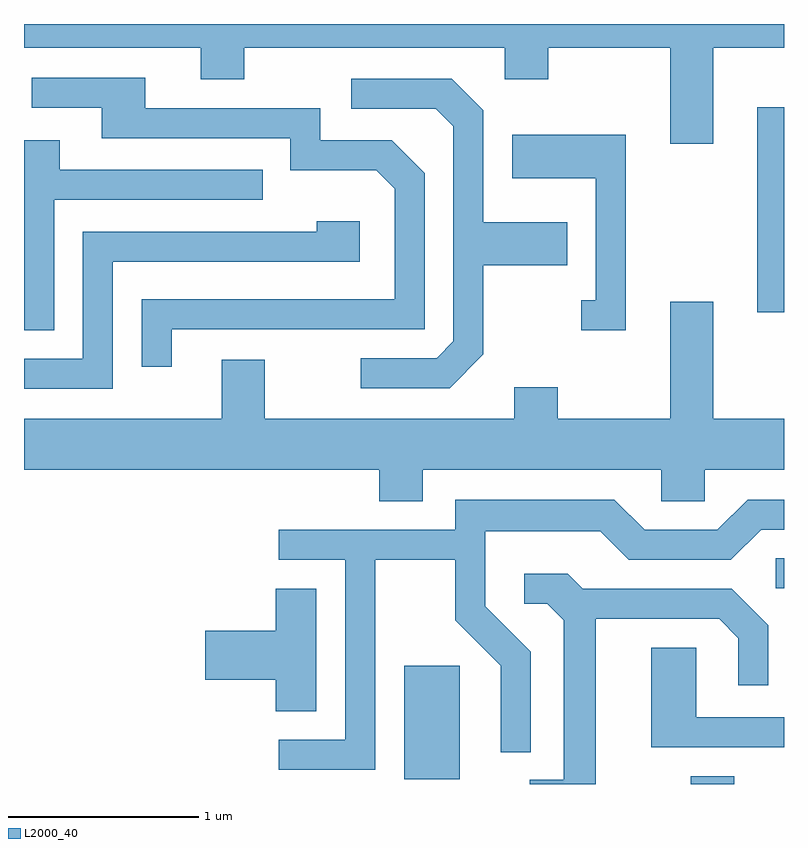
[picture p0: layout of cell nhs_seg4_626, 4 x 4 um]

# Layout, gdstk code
import gdstk
lib = gdstk.Library(unit=1e-6, precision=1e-09)
def R(c, l, rs):  # rectangles x0, y0, x1, y1
    for r in rs: c.add(gdstk.rectangle(r[:2], r[2:], *l))
def P(c, l, *ps):  # polygons
    for p in ps: c.add(gdstk.Polygon(p, *l))
L2000_40 = (2000, 40)

nhs_seg4_626 = lib.new_cell('nhs_seg4_626')
R(nhs_seg4_626, L2000_40, [(207.121,1281.982,207.349,1282.024), (205.611,1282.006,205.904,1282.604), (207.568,1283.011,207.611,1283.169), (207.471,1284.466,207.611,1285.544)])
P(nhs_seg4_626, L2000_40, [(207.239,1285.856),(207.611,1285.856),(207.611,1285.982),(203.611,1285.982),(203.611,1285.856),(204.541,1285.856),(204.541,1285.691),(204.769,1285.691),(204.769,1285.856),(206.141,1285.856),(206.141,1285.691),(206.369,1285.691),(206.369,1285.856),(207.011,1285.856),(207.011,1285.351),(207.239,1285.351)],
  [(204.389,1284.376),(205.719,1284.376),(205.719,1285.197),(205.547,1285.369),(205.169,1285.369),(205.169,1285.539),(204.249,1285.539),(204.249,1285.699),(203.653,1285.699),(203.653,1285.541),(204.021,1285.541),(204.021,1285.381),(205.011,1285.381),(205.011,1285.211),(205.464,1285.211),(205.561,1285.114),(205.561,1284.534),(204.231,1284.534),(204.231,1284.178),(204.389,1284.178)],
  [(206.029,1284.244),(206.029,1284.711),(206.469,1284.711),(206.469,1284.939),(206.029,1284.939),(206.029,1285.527),(205.862,1285.694),(205.333,1285.694),(205.333,1285.536),(205.779,1285.536),(205.871,1285.444),(205.871,1284.312),(205.784,1284.224),(205.383,1284.224),(205.383,1284.066),(205.852,1284.066)],
  [(206.779,1285.399),(206.181,1285.399),(206.181,1285.171),(206.621,1285.171),(206.621,1284.529),(206.543,1284.529),(206.543,1284.371),(206.779,1284.371)],
  [(203.769,1285.056),(204.868,1285.056),(204.868,1285.214),(203.799,1285.214),(203.799,1285.369),(203.611,1285.369),(203.611,1284.371),(203.769,1284.371)],
  [(204.079,1284.731),(205.379,1284.731),(205.379,1284.944),(205.151,1284.944),(205.151,1284.889),(203.921,1284.889),(203.921,1284.219),(203.611,1284.219),(203.611,1284.061),(204.079,1284.061)],
  [(205.709,1283.636),(206.966,1283.636),(206.966,1283.471),(207.194,1283.471),(207.194,1283.636),(207.611,1283.636),(207.611,1283.904),(207.239,1283.904),(207.239,1284.519),(207.011,1284.519),(207.011,1283.904),(206.419,1283.904),(206.419,1284.069),(206.191,1284.069),(206.191,1283.904),(204.879,1283.904),(204.879,1284.214),(204.651,1284.214),(204.651,1283.904),(203.611,1283.904),(203.611,1283.636),(205.481,1283.636),(205.481,1283.471),(205.709,1283.471)],
  [(205.459,1283.161),(205.881,1283.161),(205.881,1282.844),(206.121,1282.604),(206.121,1282.148),(206.279,1282.148),(206.279,1282.677),(206.039,1282.917),(206.039,1283.311),(206.644,1283.311),(206.794,1283.161),(207.332,1283.161),(207.492,1283.321),(207.611,1283.321),(207.611,1283.479),(207.419,1283.479),(207.259,1283.319),(206.877,1283.319),(206.717,1283.479),(205.881,1283.479),(205.881,1283.319),(204.953,1283.319),(204.953,1283.161),(205.301,1283.161),(205.301,1282.214),(204.953,1282.214),(204.953,1282.056),(205.459,1282.056)],
  [(206.619,1282.851),(207.269,1282.851),(207.371,1282.749),(207.371,1282.503),(207.529,1282.503),(207.529,1282.817),(207.337,1283.009),(206.552,1283.009),(206.472,1283.089),(206.243,1283.089),(206.243,1282.931),(206.364,1282.931),(206.451,1282.844),(206.451,1282.004),(206.273,1282.004),(206.273,1281.982),(206.619,1281.982)],
  [(205.149,1283.009),(204.936,1283.009),(204.936,1282.789),(204.566,1282.789),(204.566,1282.531),(204.936,1282.531),(204.936,1282.366),(205.149,1282.366)],
  [(207.611,1282.334),(207.149,1282.334),(207.149,1282.699),(206.911,1282.699),(206.911,1282.176),(207.611,1282.176)])

lib.write_gds('nhs_seg4_626.gds')
